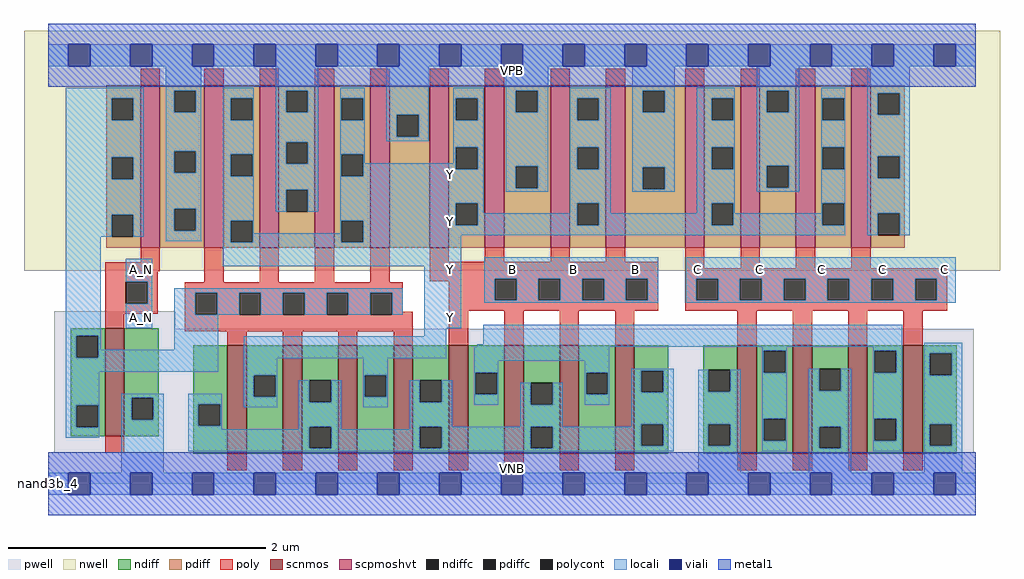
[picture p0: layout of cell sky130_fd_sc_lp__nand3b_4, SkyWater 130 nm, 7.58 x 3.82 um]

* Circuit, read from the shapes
.subckt sky130_fd_sc_lp__nand3b_4 A_N B C VGND VNB VPB VPWR Y
XM1 VGND A_N n1 VNB sky130_fd_pr__nfet_01v8 w=0.84 l=0.15
XM2 Y n1 n2 VNB sky130_fd_pr__nfet_01v8 w=0.84 l=0.15 m=4
XM3 n3 B n2 VNB sky130_fd_pr__nfet_01v8 w=0.84 l=0.15 m=4
XM4 n3 C VGND VNB sky130_fd_pr__nfet_01v8 w=0.84 l=0.15 m=4
XM5 VPWR A_N n1 VPB sky130_fd_pr__pfet_01v8_hvt w=1.26 l=0.15
XM6 Y n1 VPWR VPB sky130_fd_pr__pfet_01v8_hvt w=1.26 l=0.15 m=4
XM7 Y B VPWR VPB sky130_fd_pr__pfet_01v8_hvt w=1.26 l=0.15 m=4
XM8 Y C VPWR VPB sky130_fd_pr__pfet_01v8_hvt w=1.26 l=0.15 m=4
.ends

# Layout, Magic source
magic
tech sky130A
magscale 1 2
<< nwell >>
rect -38 331 1478 704
<< pwell >>
rect 9 241 197 268
rect 9 49 1437 241
rect 0 0 1440 49
<< scnmos >>
rect 88 74 118 242
rect 278 47 308 215
rect 364 47 394 215
rect 450 47 480 215
rect 536 47 566 215
rect 622 47 652 215
rect 708 47 738 215
rect 794 47 824 215
rect 880 47 910 215
rect 1070 47 1100 215
rect 1156 47 1186 215
rect 1242 47 1272 215
rect 1328 47 1358 215
<< scpmoshvt >>
rect 143 367 173 619
rect 242 367 272 619
rect 328 367 358 619
rect 414 367 444 619
rect 500 367 530 619
rect 592 367 622 619
rect 678 367 708 619
rect 780 367 810 619
rect 866 367 896 619
rect 989 367 1019 619
rect 1075 367 1105 619
rect 1161 367 1191 619
rect 1247 367 1277 619
<< ndiff >>
rect 35 230 88 242
rect 35 196 43 230
rect 77 196 88 230
rect 35 122 88 196
rect 35 88 43 122
rect 77 88 88 122
rect 35 74 88 88
rect 118 134 171 242
rect 118 100 129 134
rect 163 100 171 134
rect 118 74 171 100
rect 225 124 278 215
rect 225 90 233 124
rect 267 90 278 124
rect 225 47 278 90
rect 308 169 364 215
rect 308 135 319 169
rect 353 135 364 169
rect 308 47 364 135
rect 394 161 450 215
rect 394 127 405 161
rect 439 127 450 161
rect 394 89 450 127
rect 394 55 405 89
rect 439 55 450 89
rect 394 47 450 55
rect 480 169 536 215
rect 480 135 491 169
rect 525 135 536 169
rect 480 47 536 135
rect 566 161 622 215
rect 566 127 577 161
rect 611 127 622 161
rect 566 89 622 127
rect 566 55 577 89
rect 611 55 622 89
rect 566 47 622 55
rect 652 173 708 215
rect 652 139 663 173
rect 697 139 708 173
rect 652 47 708 139
rect 738 157 794 215
rect 738 123 749 157
rect 783 123 794 157
rect 738 89 794 123
rect 738 55 749 89
rect 783 55 794 89
rect 738 47 794 55
rect 824 173 880 215
rect 824 139 835 173
rect 869 139 880 173
rect 824 47 880 139
rect 910 176 963 215
rect 910 142 921 176
rect 955 142 963 176
rect 910 93 963 142
rect 910 59 921 93
rect 955 59 963 93
rect 910 47 963 59
rect 1017 177 1070 215
rect 1017 143 1025 177
rect 1059 143 1070 177
rect 1017 93 1070 143
rect 1017 59 1025 93
rect 1059 59 1070 93
rect 1017 47 1070 59
rect 1100 207 1156 215
rect 1100 173 1111 207
rect 1145 173 1156 207
rect 1100 101 1156 173
rect 1100 67 1111 101
rect 1145 67 1156 101
rect 1100 47 1156 67
rect 1186 179 1242 215
rect 1186 145 1197 179
rect 1231 145 1242 179
rect 1186 89 1242 145
rect 1186 55 1197 89
rect 1231 55 1242 89
rect 1186 47 1242 55
rect 1272 207 1328 215
rect 1272 173 1283 207
rect 1317 173 1328 207
rect 1272 101 1328 173
rect 1272 67 1283 101
rect 1317 67 1328 101
rect 1272 47 1328 67
rect 1358 203 1411 215
rect 1358 169 1369 203
rect 1403 169 1411 203
rect 1358 93 1411 169
rect 1358 59 1369 93
rect 1403 59 1411 93
rect 1358 47 1411 59
<< pdiff >>
rect 90 599 143 619
rect 90 565 98 599
rect 132 565 143 599
rect 90 507 143 565
rect 90 473 98 507
rect 132 473 143 507
rect 90 418 143 473
rect 90 384 98 418
rect 132 384 143 418
rect 90 367 143 384
rect 173 611 242 619
rect 173 577 195 611
rect 229 577 242 611
rect 173 517 242 577
rect 173 483 195 517
rect 229 483 242 517
rect 173 427 242 483
rect 173 393 195 427
rect 229 393 242 427
rect 173 367 242 393
rect 272 599 328 619
rect 272 565 283 599
rect 317 565 328 599
rect 272 512 328 565
rect 272 478 283 512
rect 317 478 328 512
rect 272 409 328 478
rect 272 375 283 409
rect 317 375 328 409
rect 272 367 328 375
rect 358 611 414 619
rect 358 577 369 611
rect 403 577 414 611
rect 358 531 414 577
rect 358 497 369 531
rect 403 497 414 531
rect 358 457 414 497
rect 358 423 369 457
rect 403 423 414 457
rect 358 367 414 423
rect 444 599 500 619
rect 444 565 455 599
rect 489 565 500 599
rect 444 512 500 565
rect 444 478 455 512
rect 489 478 500 512
rect 444 409 500 478
rect 444 375 455 409
rect 489 375 500 409
rect 444 367 500 375
rect 530 573 592 619
rect 530 539 541 573
rect 575 539 592 573
rect 530 367 592 539
rect 622 599 678 619
rect 622 565 633 599
rect 667 565 678 599
rect 622 523 678 565
rect 622 489 633 523
rect 667 489 678 523
rect 622 436 678 489
rect 622 402 633 436
rect 667 402 678 436
rect 622 367 678 402
rect 708 611 780 619
rect 708 577 726 611
rect 760 577 780 611
rect 708 493 780 577
rect 708 459 726 493
rect 760 459 780 493
rect 708 367 780 459
rect 810 599 866 619
rect 810 565 821 599
rect 855 565 866 599
rect 810 523 866 565
rect 810 489 821 523
rect 855 489 866 523
rect 810 436 866 489
rect 810 402 821 436
rect 855 402 866 436
rect 810 367 866 402
rect 896 611 989 619
rect 896 577 923 611
rect 957 577 989 611
rect 896 492 989 577
rect 896 458 923 492
rect 957 458 989 492
rect 896 367 989 458
rect 1019 599 1075 619
rect 1019 565 1030 599
rect 1064 565 1075 599
rect 1019 523 1075 565
rect 1019 489 1030 523
rect 1064 489 1075 523
rect 1019 436 1075 489
rect 1019 402 1030 436
rect 1064 402 1075 436
rect 1019 367 1075 402
rect 1105 611 1161 619
rect 1105 577 1116 611
rect 1150 577 1161 611
rect 1105 494 1161 577
rect 1105 460 1116 494
rect 1150 460 1161 494
rect 1105 367 1161 460
rect 1191 599 1247 619
rect 1191 565 1202 599
rect 1236 565 1247 599
rect 1191 523 1247 565
rect 1191 489 1202 523
rect 1236 489 1247 523
rect 1191 436 1247 489
rect 1191 402 1202 436
rect 1236 402 1247 436
rect 1191 367 1247 402
rect 1277 607 1330 619
rect 1277 573 1288 607
rect 1322 573 1330 607
rect 1277 509 1330 573
rect 1277 475 1288 509
rect 1322 475 1330 509
rect 1277 420 1330 475
rect 1277 386 1288 420
rect 1322 386 1330 420
rect 1277 367 1330 386
<< ndiffc >>
rect 43 196 77 230
rect 43 88 77 122
rect 129 100 163 134
rect 233 90 267 124
rect 319 135 353 169
rect 405 127 439 161
rect 405 55 439 89
rect 491 135 525 169
rect 577 127 611 161
rect 577 55 611 89
rect 663 139 697 173
rect 749 123 783 157
rect 749 55 783 89
rect 835 139 869 173
rect 921 142 955 176
rect 921 59 955 93
rect 1025 143 1059 177
rect 1025 59 1059 93
rect 1111 173 1145 207
rect 1111 67 1145 101
rect 1197 145 1231 179
rect 1197 55 1231 89
rect 1283 173 1317 207
rect 1283 67 1317 101
rect 1369 169 1403 203
rect 1369 59 1403 93
<< pdiffc >>
rect 98 565 132 599
rect 98 473 132 507
rect 98 384 132 418
rect 195 577 229 611
rect 195 483 229 517
rect 195 393 229 427
rect 283 565 317 599
rect 283 478 317 512
rect 283 375 317 409
rect 369 577 403 611
rect 369 497 403 531
rect 369 423 403 457
rect 455 565 489 599
rect 455 478 489 512
rect 455 375 489 409
rect 541 539 575 573
rect 633 565 667 599
rect 633 489 667 523
rect 633 402 667 436
rect 726 577 760 611
rect 726 459 760 493
rect 821 565 855 599
rect 821 489 855 523
rect 821 402 855 436
rect 923 577 957 611
rect 923 458 957 492
rect 1030 565 1064 599
rect 1030 489 1064 523
rect 1030 402 1064 436
rect 1116 577 1150 611
rect 1116 460 1150 494
rect 1202 565 1236 599
rect 1202 489 1236 523
rect 1202 402 1236 436
rect 1288 573 1322 607
rect 1288 475 1322 509
rect 1288 386 1322 420
<< poly >>
rect 143 619 173 645
rect 242 619 272 645
rect 328 619 358 645
rect 414 619 444 645
rect 500 619 530 645
rect 592 619 622 645
rect 678 619 708 645
rect 780 619 810 645
rect 866 619 896 645
rect 989 619 1019 645
rect 1075 619 1105 645
rect 1161 619 1191 645
rect 1247 619 1277 645
rect 143 344 173 367
rect 88 330 173 344
rect 88 314 170 330
rect 88 280 120 314
rect 154 280 170 314
rect 242 313 272 367
rect 328 313 358 367
rect 414 313 444 367
rect 500 313 530 367
rect 592 345 622 367
rect 678 345 708 367
rect 780 345 810 367
rect 866 345 896 367
rect 592 319 947 345
rect 592 315 693 319
rect 88 264 170 280
rect 212 297 550 313
rect 88 242 118 264
rect 212 263 228 297
rect 262 263 296 297
rect 330 263 364 297
rect 398 263 432 297
rect 466 263 500 297
rect 534 267 550 297
rect 622 285 693 315
rect 727 285 761 319
rect 795 285 829 319
rect 863 285 897 319
rect 931 285 947 319
rect 622 269 947 285
rect 989 335 1019 367
rect 1075 335 1105 367
rect 1161 335 1191 367
rect 1247 335 1277 367
rect 989 319 1396 335
rect 989 285 1006 319
rect 1040 285 1074 319
rect 1108 285 1142 319
rect 1176 285 1210 319
rect 1244 285 1278 319
rect 1312 285 1346 319
rect 1380 285 1396 319
rect 989 269 1396 285
rect 534 263 566 267
rect 212 237 566 263
rect 278 215 308 237
rect 364 215 394 237
rect 450 215 480 237
rect 536 215 566 237
rect 622 215 652 269
rect 708 215 738 269
rect 794 215 824 269
rect 880 215 910 269
rect 1070 215 1100 269
rect 1156 215 1186 269
rect 1242 215 1272 269
rect 1328 215 1358 269
rect 88 48 118 74
rect 278 21 308 47
rect 364 21 394 47
rect 450 21 480 47
rect 536 21 566 47
rect 622 21 652 47
rect 708 21 738 47
rect 794 21 824 47
rect 880 21 910 47
rect 1070 21 1100 47
rect 1156 21 1186 47
rect 1242 21 1272 47
rect 1328 21 1358 47
<< polycont >>
rect 120 280 154 314
rect 228 263 262 297
rect 296 263 330 297
rect 364 263 398 297
rect 432 263 466 297
rect 500 263 534 297
rect 693 285 727 319
rect 761 285 795 319
rect 829 285 863 319
rect 897 285 931 319
rect 1006 285 1040 319
rect 1074 285 1108 319
rect 1142 285 1176 319
rect 1210 285 1244 319
rect 1278 285 1312 319
rect 1346 285 1380 319
<< locali >>
rect 0 649 31 683
rect 65 649 127 683
rect 161 649 223 683
rect 257 649 319 683
rect 353 649 415 683
rect 449 649 511 683
rect 545 649 607 683
rect 641 649 703 683
rect 737 649 799 683
rect 833 649 895 683
rect 929 649 991 683
rect 1025 649 1087 683
rect 1121 649 1183 683
rect 1217 649 1279 683
rect 1313 649 1375 683
rect 1409 649 1440 683
rect 27 599 148 615
rect 27 565 98 599
rect 132 565 148 599
rect 27 507 148 565
rect 27 473 98 507
rect 132 473 148 507
rect 27 418 148 473
rect 27 384 98 418
rect 132 384 148 418
rect 182 611 237 649
rect 182 577 195 611
rect 229 577 237 611
rect 182 517 237 577
rect 182 483 195 517
rect 229 483 237 517
rect 182 427 237 483
rect 182 393 195 427
rect 229 393 237 427
rect 27 230 81 384
rect 182 377 237 393
rect 271 599 319 615
rect 271 565 283 599
rect 317 565 319 599
rect 271 512 319 565
rect 271 478 283 512
rect 317 478 319 512
rect 271 409 319 478
rect 353 611 419 649
rect 353 577 369 611
rect 403 577 419 611
rect 353 531 419 577
rect 353 497 369 531
rect 403 497 419 531
rect 353 457 419 497
rect 353 423 369 457
rect 403 423 419 457
rect 453 599 491 615
rect 453 565 455 599
rect 489 565 491 599
rect 453 512 491 565
rect 525 573 591 649
rect 525 539 541 573
rect 575 539 591 573
rect 525 532 591 539
rect 629 599 676 615
rect 629 565 633 599
rect 667 565 676 599
rect 453 478 455 512
rect 489 498 491 512
rect 629 523 676 565
rect 629 498 633 523
rect 489 489 633 498
rect 667 489 676 523
rect 489 478 676 489
rect 453 436 676 478
rect 710 611 776 649
rect 710 577 726 611
rect 760 577 776 611
rect 710 493 776 577
rect 710 459 726 493
rect 760 459 776 493
rect 710 454 776 459
rect 810 599 873 615
rect 810 565 821 599
rect 855 565 873 599
rect 810 523 873 565
rect 810 489 821 523
rect 855 489 873 523
rect 271 375 283 409
rect 317 389 319 409
rect 453 409 633 436
rect 453 389 455 409
rect 317 375 455 389
rect 489 402 633 409
rect 667 420 676 436
rect 810 436 873 489
rect 907 611 973 649
rect 907 577 923 611
rect 957 577 973 611
rect 907 492 973 577
rect 907 458 923 492
rect 957 458 973 492
rect 907 454 973 458
rect 1007 599 1066 615
rect 1007 565 1030 599
rect 1064 565 1066 599
rect 1007 523 1066 565
rect 1007 489 1030 523
rect 1064 489 1066 523
rect 810 420 821 436
rect 667 402 821 420
rect 855 420 873 436
rect 1007 436 1066 489
rect 1100 611 1166 649
rect 1100 577 1116 611
rect 1150 577 1166 611
rect 1100 494 1166 577
rect 1100 460 1116 494
rect 1150 460 1166 494
rect 1100 454 1166 460
rect 1200 599 1238 615
rect 1200 565 1202 599
rect 1236 565 1238 599
rect 1200 523 1238 565
rect 1200 489 1202 523
rect 1236 489 1238 523
rect 1007 420 1030 436
rect 855 402 1030 420
rect 1064 420 1066 436
rect 1200 436 1238 489
rect 1200 420 1202 436
rect 1064 402 1202 420
rect 1236 402 1238 436
rect 489 386 1238 402
rect 1272 607 1338 649
rect 1272 573 1288 607
rect 1322 573 1338 607
rect 1272 509 1338 573
rect 1272 475 1288 509
rect 1322 475 1338 509
rect 1272 420 1338 475
rect 1272 386 1288 420
rect 1322 386 1338 420
rect 489 375 641 386
rect 120 314 161 350
rect 271 338 641 375
rect 154 280 161 314
rect 120 242 161 280
rect 195 297 550 304
rect 195 263 228 297
rect 262 263 296 297
rect 330 263 364 297
rect 398 263 432 297
rect 466 263 500 297
rect 534 263 550 297
rect 27 196 43 230
rect 77 208 81 230
rect 195 208 264 263
rect 584 242 641 338
rect 677 319 947 352
rect 677 285 693 319
rect 727 285 761 319
rect 795 285 829 319
rect 863 285 897 319
rect 931 285 947 319
rect 677 281 947 285
rect 990 319 1409 352
rect 990 285 1006 319
rect 1040 285 1074 319
rect 1108 285 1142 319
rect 1176 285 1210 319
rect 1244 285 1278 319
rect 1312 285 1346 319
rect 1380 285 1409 319
rect 990 281 1409 285
rect 584 229 618 242
rect 77 196 264 208
rect 27 174 264 196
rect 303 195 618 229
rect 675 217 1326 247
rect 666 213 1326 217
rect 27 122 79 174
rect 303 169 355 195
rect 27 88 43 122
rect 77 88 79 122
rect 27 72 79 88
rect 113 134 179 140
rect 113 100 129 134
rect 163 100 179 134
rect 113 17 179 100
rect 217 124 269 140
rect 217 90 233 124
rect 267 90 269 124
rect 303 135 319 169
rect 353 135 355 169
rect 489 169 527 195
rect 303 119 355 135
rect 389 127 405 161
rect 439 127 455 161
rect 217 85 269 90
rect 389 89 455 127
rect 489 135 491 169
rect 525 135 527 169
rect 661 191 871 213
rect 661 173 699 191
rect 489 119 527 135
rect 561 127 577 161
rect 611 127 627 161
rect 389 85 405 89
rect 217 55 405 85
rect 439 85 455 89
rect 561 89 627 127
rect 661 139 663 173
rect 697 139 699 173
rect 833 173 871 191
rect 1109 207 1147 213
rect 661 123 699 139
rect 733 123 749 157
rect 783 123 799 157
rect 833 139 835 173
rect 869 139 871 173
rect 833 123 871 139
rect 905 176 971 179
rect 905 142 921 176
rect 955 142 971 176
rect 733 89 799 123
rect 905 93 971 142
rect 905 89 921 93
rect 561 85 577 89
rect 439 55 577 85
rect 611 55 749 89
rect 783 59 921 89
rect 955 59 971 93
rect 783 55 971 59
rect 217 51 971 55
rect 1009 143 1025 177
rect 1059 143 1075 177
rect 1009 93 1075 143
rect 1009 59 1025 93
rect 1059 59 1075 93
rect 1009 17 1075 59
rect 1109 173 1111 207
rect 1145 173 1147 207
rect 1281 207 1326 213
rect 1109 101 1147 173
rect 1109 67 1111 101
rect 1145 67 1147 101
rect 1109 51 1147 67
rect 1181 145 1197 179
rect 1231 145 1247 179
rect 1181 89 1247 145
rect 1181 55 1197 89
rect 1231 55 1247 89
rect 1181 17 1247 55
rect 1281 173 1283 207
rect 1317 173 1326 207
rect 1281 101 1326 173
rect 1281 67 1283 101
rect 1317 67 1326 101
rect 1281 51 1326 67
rect 1360 203 1419 219
rect 1360 169 1369 203
rect 1403 169 1419 203
rect 1360 93 1419 169
rect 1360 59 1369 93
rect 1403 59 1419 93
rect 1360 17 1419 59
rect 0 -17 31 17
rect 65 -17 127 17
rect 161 -17 223 17
rect 257 -17 319 17
rect 353 -17 415 17
rect 449 -17 511 17
rect 545 -17 607 17
rect 641 -17 703 17
rect 737 -17 799 17
rect 833 -17 895 17
rect 929 -17 991 17
rect 1025 -17 1087 17
rect 1121 -17 1183 17
rect 1217 -17 1279 17
rect 1313 -17 1375 17
rect 1409 -17 1440 17
<< viali >>
rect 31 649 65 683
rect 127 649 161 683
rect 223 649 257 683
rect 319 649 353 683
rect 415 649 449 683
rect 511 649 545 683
rect 607 649 641 683
rect 703 649 737 683
rect 799 649 833 683
rect 895 649 929 683
rect 991 649 1025 683
rect 1087 649 1121 683
rect 1183 649 1217 683
rect 1279 649 1313 683
rect 1375 649 1409 683
rect 31 -17 65 17
rect 127 -17 161 17
rect 223 -17 257 17
rect 319 -17 353 17
rect 415 -17 449 17
rect 511 -17 545 17
rect 607 -17 641 17
rect 703 -17 737 17
rect 799 -17 833 17
rect 895 -17 929 17
rect 991 -17 1025 17
rect 1087 -17 1121 17
rect 1183 -17 1217 17
rect 1279 -17 1313 17
rect 1375 -17 1409 17
<< metal1 >>
rect 0 683 1440 715
rect 0 649 31 683
rect 65 649 127 683
rect 161 649 223 683
rect 257 649 319 683
rect 353 649 415 683
rect 449 649 511 683
rect 545 649 607 683
rect 641 649 703 683
rect 737 649 799 683
rect 833 649 895 683
rect 929 649 991 683
rect 1025 649 1087 683
rect 1121 649 1183 683
rect 1217 649 1279 683
rect 1313 649 1375 683
rect 1409 649 1440 683
rect 0 617 1440 649
rect 0 17 1440 49
rect 0 -17 31 17
rect 65 -17 127 17
rect 161 -17 223 17
rect 257 -17 319 17
rect 353 -17 415 17
rect 449 -17 511 17
rect 545 -17 607 17
rect 641 -17 703 17
rect 737 -17 799 17
rect 833 -17 895 17
rect 929 -17 991 17
rect 1025 -17 1087 17
rect 1121 -17 1183 17
rect 1217 -17 1279 17
rect 1313 -17 1375 17
rect 1409 -17 1440 17
rect 0 -49 1440 -17
<< labels >>
flabel pwell s 0 0 1440 49 0 FreeSans 200 0 0 0 VNB
port 5 nsew ground bidirectional
flabel nwell s 0 617 1440 666 0 FreeSans 200 0 0 0 VPB
port 6 nsew power bidirectional
rlabel comment s 0 0 0 0 4 nand3b_4
flabel metal1 s 0 617 1440 666 0 FreeSans 340 0 0 0 VPWR
port 7 nsew power bidirectional
flabel metal1 s 0 0 1440 49 0 FreeSans 340 0 0 0 VGND
port 4 nsew ground bidirectional
flabel locali s 703 316 737 350 0 FreeSans 340 0 0 0 B
port 2 nsew signal input
flabel locali s 799 316 833 350 0 FreeSans 340 0 0 0 B
port 2 nsew signal input
flabel locali s 895 316 929 350 0 FreeSans 340 0 0 0 B
port 2 nsew signal input
flabel locali s 127 242 161 276 0 FreeSans 340 0 0 0 A_N
port 1 nsew signal input
flabel locali s 127 316 161 350 0 FreeSans 340 0 0 0 A_N
port 1 nsew signal input
flabel locali s 607 242 641 276 0 FreeSans 340 0 0 0 Y
port 8 nsew signal output
flabel locali s 607 316 641 350 0 FreeSans 340 0 0 0 Y
port 8 nsew signal output
flabel locali s 607 390 641 424 0 FreeSans 340 0 0 0 Y
port 8 nsew signal output
flabel locali s 607 464 641 498 0 FreeSans 340 0 0 0 Y
port 8 nsew signal output
flabel locali s 991 316 1025 350 0 FreeSans 340 0 0 0 C
port 3 nsew signal input
flabel locali s 1087 316 1121 350 0 FreeSans 340 0 0 0 C
port 3 nsew signal input
flabel locali s 1183 316 1217 350 0 FreeSans 340 0 0 0 C
port 3 nsew signal input
flabel locali s 1279 316 1313 350 0 FreeSans 340 0 0 0 C
port 3 nsew signal input
flabel locali s 1375 316 1409 350 0 FreeSans 340 0 0 0 C
port 3 nsew signal input
<< properties >>
string LEFsite unit
string LEFclass CORE
string FIXED_BBOX 0 0 1440 666
string GDS_FILE $PDKPATH/libs.ref/sky130_fd_sc_lp/gds/sky130_fd_sc_lp.gds
string LEFsymmetry X Y R90
string GDS_END 3722990
string GDS_START 3710136
<< end >>
